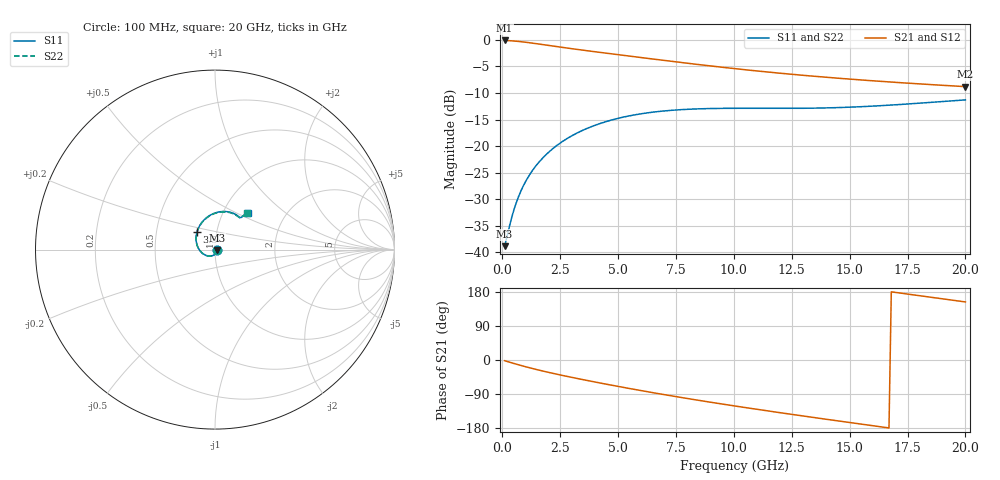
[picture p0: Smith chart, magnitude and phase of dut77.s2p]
! Touchstone file exported from HFSS 2023.1.0
!  File:  D:/Users/fzz/RDL_TSV/temp_RDL_TSV_77_1778747273.aedt
!  Generated:  4:36:19 %x4E0B%x5348  5%x6708 14, 2026
!  Design:  RDL_TSV
!  Project:  temp_RDL_TSV_77_1778747273
!  Setup:  Setup1
!  Solution:  Sweep
! Variables:
!  dtsv = 14.5um
!  hbump = 3um
!  htsv = 70um
!  ldown = 151.07um
!  lrdl = 634.86um
!  p = 40
!  p1 = 43.78um
!  rhole = 10um
!  subl = 2992.65um
!  t = 450um
!  tdown = 2.73um
!  trdl = 4.86um
!  viad = 10um
!  wdown = 27.18um
!  wrdl = 23.89um
!  xbump = 18um
# GHz S MA R 50.000000
! Terminal data exported
! Port[1] = TM1_1_T1
! Port[2] = TM1_4_T1
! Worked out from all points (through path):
!   200 points, 100 MHz to 20 GHz, reference 50 ohm
!   highest |S21| = -0.10 dB at 100 MHz (marker M1); lowest = -8.8 dB at 20 GHz (marker M2)
!   group delay of S21, straight-line fit = 27.3 ps
!   lowest |S11| = -38.9 dB at 100 MHz (marker M3), VSWR 1.02, Z = 51.1 - j0.473 ohm
!   |S11| at or under -10 dB: start of sweep to end of sweep
!   |S22| runs from -38.9 to -11.4 dB; largest |S21 - S12| = 1e-14
!   S11 on the Smith chart (normalised r, x): 100 MHz: 1.02, -0.01; 3.5 GHz: 0.80, +0.17; 20 GHz: 1.30, +0.57
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0.1  0.01141 -23.9  0.9887 -1.9  0.9887 -1.9  0.01141 -24.0
! Gamma 0 0 0 0
! Port Impedance 50 0 50 0
0.4  0.02101 -76.7  0.9806 -7.4  0.9806 -7.4  0.02103 -76.6
0.6  0.02913 -98.0  0.9728 -10.9  0.9728 -10.9  0.02914 -97.9
0.9  0.0418 -121.8  0.9577 -16.0  0.9577 -16.0  0.0418 -121.6
1.1  0.05031 -134.8  0.946 -19.3  0.946 -19.3  0.05027 -134.6
1.3  0.05876 -146.4  0.9334 -22.4  0.9334 -22.4  0.05868 -146.2
1.7  0.07536 -166.4  0.907 -28.4  0.907 -28.4  0.07516 -166.1
2.2  0.09532 173.1  0.8746 -35.4  0.8746 -35.4  0.09492 173.3
2.8  0.1178 153.2  0.8382 -43.3  0.8382 -43.3  0.1171 153.4
3.5  0.1417 134.6  0.7997 -52.1  0.7997 -52.1  0.1407 134.9
4.2  0.1626 119.7  0.7642 -60.4  0.7642 -60.4  0.1613 119.9
5  0.1826 105.7  0.7263 -69.7  0.7263 -69.7  0.1809 105.9
5.9  0.2 93.0  0.6863 -79.7  0.6863 -79.7  0.198 93.1
6.8  0.2123 82.7  0.6488 -89.4  0.6488 -89.4  0.2101 82.8
8.4  0.224 68.9  0.5888 -105.7  0.5888 -105.7  0.2215 69.0
10.1  0.2271 59.5  0.5348 -121.9  0.5348 -121.9  0.2245 59.6
11.7  0.2267 54.3  0.4927 -136.4  0.4927 -136.4  0.2242 54.4
13.4  0.2276 51.6  0.456 -151.3  0.456 -151.3  0.2252 51.7
15  0.2325 50.7  0.4275 -165.0  0.4275 -165.0  0.2302 50.8
16.7  0.2427 50.3  0.4022 -179.3  0.4022 -179.3  0.2405 50.4
18.3  0.2562 49.6  0.3819 167.3  0.3819 167.3  0.254 49.6
20  0.2724 48.3  0.3632 153.2  0.3632 153.2  0.2701 48.2
